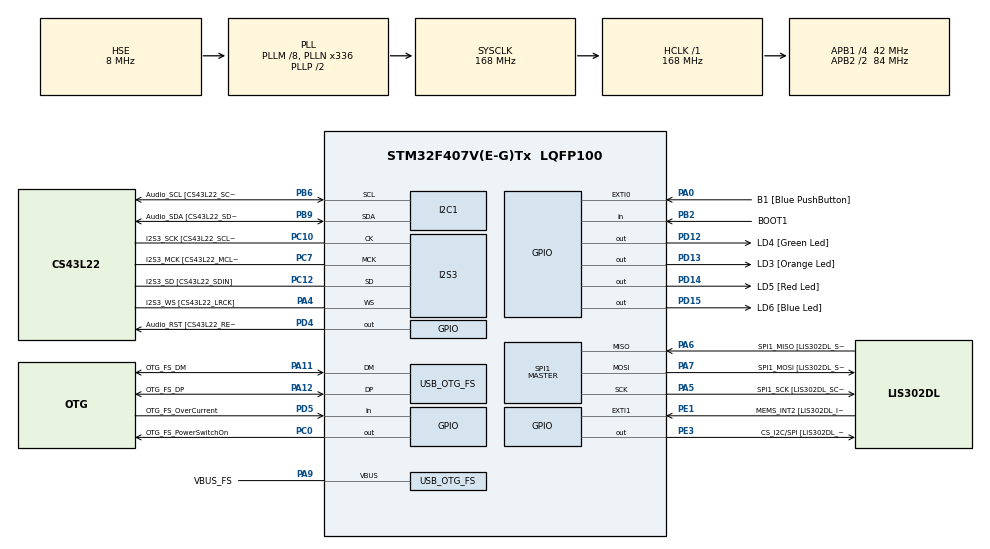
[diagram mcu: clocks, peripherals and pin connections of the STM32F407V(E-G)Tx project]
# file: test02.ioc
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I2S3.AudioFreq-Half_Duplex_Master=I2S_AUDIOFREQ_96K
I2S3.ErrorAudioFreq=-2.34 %
I2S3.ErrorAudioFreq-Half_Duplex_Master=0.8 %
I2S3.FullDuplexMode=I2S_FULLDUPLEXMODE_DISABLE
I2S3.Instance=SPI$Index
I2S3.RealAudioFreq=93.75 KHz
I2S3.RealAudioFreq-Half_Duplex_Master=96.774 KHz
I2S3.VirtualMode=I2S_MODE_MASTER
Mcu.Family=STM32F4
Mcu.Name=STM32F407V(E-G)Tx
Mcu.Package=LQFP100
NVIC.OTG_FS_IRQn=true\:0\:0\:false\:false\:true\:true\:true
NVIC.PriorityGroup=NVIC_PRIORITYGROUP_0
PA0-WKUP.GPIO_Label=B1 [Blue PushButton]
PA0-WKUP.GPIO_ModeDefaultEXTI=GPIO_MODE_EVT_RISING
PA0-WKUP.GPIO_PuPd=GPIO_NOPULL
PA0-WKUP.Signal=GPXTI0
PA10.GPIO_Label=OTG_FS_ID
PA10.GPIO_Mode=GPIO_MODE_AF_PP
PA10.GPIO_PuPd=GPIO_NOPULL
PA10.GPIO_Speed=GPIO_SPEED_FREQ_LOW
PA10.Signal=USB_OTG_FS_ID
PA11.GPIO_Label=OTG_FS_DM
PA11.GPIO_Mode=GPIO_MODE_AF_PP
PA11.GPIO_PuPd=GPIO_NOPULL
PA11.GPIO_Speed=GPIO_SPEED_FREQ_LOW
PA11.Mode=Host_Only
PA11.Signal=USB_OTG_FS_DM
PA12.GPIO_Label=OTG_FS_DP
PA12.GPIO_Mode=GPIO_MODE_AF_PP
PA12.GPIO_PuPd=GPIO_NOPULL
PA12.GPIO_Speed=GPIO_SPEED_FREQ_LOW
PA12.Mode=Host_Only
PA12.Signal=USB_OTG_FS_DP
PA13.GPIO_Label=SWDIO
PA13.Mode=Serial_Wire
PA13.Signal=SYS_JTMS-SWDIO
PA14.GPIO_Label=SWCLK
PA14.Mode=Serial_Wire
PA14.Signal=SYS_JTCK-SWCLK
PA4.GPIO_Label=I2S3_WS [CS43L22_LRCK]
PA4.GPIO_Mode=GPIO_MODE_AF_PP
PA4.GPIO_PuPd=GPIO_NOPULL
PA4.GPIO_Speed=GPIO_SPEED_FREQ_LOW
PA4.Mode=Half_Duplex_Master
PA4.Signal=I2S3_WS
PA5.GPIO_Label=SPI1_SCK [LIS302DL_SCL/SPC]
PA5.GPIO_Mode=GPIO_MODE_AF_PP
PA5.GPIO_PuPd=GPIO_NOPULL
PA5.GPIO_Speed=GPIO_SPEED_FREQ_LOW
PA5.Mode=Full_Duplex_Master
PA5.Signal=SPI1_SCK
PA6.GPIO_Label=SPI1_MISO [LIS302DL_SDO]
PA6.GPIO_Mode=GPIO_MODE_AF_PP
PA6.GPIO_PuPd=GPIO_NOPULL
PA6.GPIO_Speed=GPIO_SPEED_FREQ_LOW
PA6.Mode=Full_Duplex_Master
PA6.Signal=SPI1_MISO
PA7.GPIO_Label=SPI1_MOSI [LIS302DL_SDA/SDI/SDO]
PA7.GPIO_Mode=GPIO_MODE_AF_PP
PA7.GPIO_PuPd=GPIO_NOPULL
PA7.GPIO_Speed=GPIO_SPEED_FREQ_LOW
PA7.Mode=Full_Duplex_Master
PA7.Signal=SPI1_MOSI
PA9.GPIO_Label=VBUS_FS
PA9.GPIO_Mode=GPIO_MODE_INPUT
PA9.GPIO_PuPd=GPIO_NOPULL
PA9.Mode=Activate_VBUS
PA9.Signal=USB_OTG_FS_VBUS
PB10.GPIO_Label=CLK_IN [MP45DT02_CLK]
PB10.GPIO_Mode=GPIO_MODE_AF_PP
PB10.GPIO_PuPd=GPIO_NOPULL
PB10.GPIO_Speed=GPIO_SPEED_FREQ_LOW
PB10.Signal=I2S2_CK
PB2.GPIO_Label=BOOT1
PB2.GPIO_Mode=GPIO_MODE_INPUT
PB2.GPIO_PuPd=GPIO_NOPULL
PB2.Signal=GPIO_Input
PB3.GPIO_Label=SWO
PB3.Signal=SYS_JTDO-SWO
PB6.GPIO_Label=Audio_SCL [CS43L22_SCL]
PB6.GPIO_Mode=GPIO_MODE_AF_OD
PB6.GPIO_PuPd=GPIO_NOPULL
PB6.GPIO_Speed=GPIO_SPEED_FREQ_LOW
PB6.Mode=I2C
PB6.Signal=I2C1_SCL
PB9.GPIO_Label=Audio_SDA [CS43L22_SDA]
PB9.GPIO_Mode=GPIO_MODE_AF_OD
PB9.GPIO_PuPd=GPIO_NOPULL
PB9.GPIO_Speed=GPIO_SPEED_FREQ_LOW
PB9.Mode=I2C
PB9.Signal=I2C1_SDA
PC0.GPIO_Label=OTG_FS_PowerSwitchOn
PC0.GPIO_PuPd=GPIO_NOPULL
PC0.GPIO_Speed=GPIO_SPEED_FREQ_LOW
PC0.PinState=GPIO_PIN_SET
PC0.Signal=GPIO_Output
PC10.GPIO_Label=I2S3_SCK [CS43L22_SCLK]
PC10.GPIO_Mode=GPIO_MODE_AF_PP
PC10.GPIO_PuPd=GPIO_NOPULL
PC10.GPIO_Speed=GPIO_SPEED_FREQ_LOW
PC10.Mode=Half_Duplex_Master
PC10.Signal=I2S3_CK
PC12.GPIO_Label=I2S3_SD [CS43L22_SDIN]
PC12.GPIO_Mode=GPIO_MODE_AF_PP
PC12.GPIO_PuPd=GPIO_NOPULL
PC12.GPIO_Speed=GPIO_SPEED_FREQ_LOW
PC12.Mode=Half_Duplex_Master
PC12.Signal=I2S3_SD
PC14-OSC32_IN.GPIO_Label=PC14-OSC32_IN
PC14-OSC32_IN.Signal=RCC_OSC32_IN
PC15-OSC32_OUT.GPIO_Label=PC15-OSC32_OUT
PC15-OSC32_OUT.Signal=RCC_OSC32_OUT
PC3.GPIO_Label=PDM_OUT [MP45DT02_DOUT]
PC3.GPIO_Mode=GPIO_MODE_AF_PP
PC3.GPIO_PuPd=GPIO_NOPULL
PC3.GPIO_Speed=GPIO_SPEED_FREQ_LOW
PC3.Signal=I2S2_SD
PC7.GPIO_Label=I2S3_MCK [CS43L22_MCLK]
PC7.GPIO_Mode=GPIO_MODE_AF_PP
PC7.GPIO_PuPd=GPIO_NOPULL
PC7.GPIO_Speed=GPIO_SPEED_FREQ_LOW
PC7.Mode=Master_Clock_Activated
PC7.Signal=I2S3_MCK
PD12.GPIO_Label=LD4 [Green Led]
PD12.GPIO_PuPd=GPIO_NOPULL
PD12.GPIO_Speed=GPIO_SPEED_FREQ_LOW
PD12.Signal=GPIO_Output
PD13.GPIO_Label=LD3 [Orange Led]
PD13.GPIO_PuPd=GPIO_NOPULL
PD13.GPIO_Speed=GPIO_SPEED_FREQ_LOW
PD13.Signal=GPIO_Output
PD14.GPIO_Label=LD5 [Red Led]
PD14.GPIO_PuPd=GPIO_NOPULL
PD14.GPIO_Speed=GPIO_SPEED_FREQ_LOW
PD14.Signal=GPIO_Output
PD15.GPIO_Label=LD6 [Blue Led]
PD15.GPIO_PuPd=GPIO_NOPULL
PD15.GPIO_Speed=GPIO_SPEED_FREQ_LOW
PD15.Signal=GPIO_Output
PD4.GPIO_Label=Audio_RST [CS43L22_RESET]
PD4.GPIO_PuPd=GPIO_NOPULL
PD4.GPIO_Speed=GPIO_SPEED_FREQ_LOW
PD4.Signal=GPIO_Output
PD5.GPIO_Label=OTG_FS_OverCurrent
PD5.GPIO_Mode=GPIO_MODE_INPUT
PD5.GPIO_PuPd=GPIO_NOPULL
PD5.Signal=GPIO_Input
PE1.GPIO_Label=MEMS_INT2 [LIS302DL_INT2]
PE1.GPIO_ModeDefaultEXTI=GPIO_MODE_EVT_RISING
PE1.GPIO_PuPd=GPIO_NOPULL
PE1.Signal=GPXTI1
PE3.GPIO_Label=CS_I2C/SPI [LIS302DL_CS_I2C/SPI]
PE3.GPIO_PuPd=GPIO_NOPULL
PE3.GPIO_Speed=GPIO_SPEED_FREQ_LOW
PE3.Signal=GPIO_Output
PH0-OSC_IN.GPIO_Label=PH0-OSC_IN
PH0-OSC_IN.Mode=HSE-External-Oscillator
PH0-OSC_IN.Signal=RCC_OSC_IN
PH1-OSC_OUT.GPIO_Label=PH1-OSC_OUT
PH1-OSC_OUT.Mode=HSE-External-Oscillator
PH1-OSC_OUT.Signal=RCC_OSC_OUT
ProjectManager.HeapSize=0x200
ProjectManager.StackSize=0x400
ProjectManager.TargetToolchain=STM32CubeIDE
RCC.48MHZClocksFreq_Value=48000000
RCC.AHBFreq_Value=168000000
RCC.APB1CLKDivider=RCC_HCLK_DIV4
RCC.APB1Freq_Value=42000000
RCC.APB1TimFreq_Value=84000000
RCC.APB2CLKDivider=RCC_HCLK_DIV2
RCC.APB2Freq_Value=84000000
RCC.APB2TimFreq_Value=168000000
RCC.CortexFreq_Value=168000000
RCC.HCLKFreq_Value=168000000
RCC.HSE_VALUE=8000000
RCC.HSI_VALUE=16000000
RCC.LSE_VALUE=32768
RCC.PLLM=8
RCC.PLLN=336
RCC.PLLQ=7
RCC.SYSCLKFreq_VALUE=168000000
RCC.SYSCLKSource=RCC_SYSCLKSOURCE_PLLCLK
RCC.VCOOutputFreq_Value=336000000
SPI1.BaudRatePrescaler-Full_Duplex_Master=SPI_BAUDRATEPRESCALER_2
SPI1.CalculateBaudRate-Full_Duplex_Master=42.0 MBits/s
SPI1.Direction=SPI_DIRECTION_2LINES
SPI1.Mode=SPI_MODE_MASTER
SPI1.Mode-Full_Duplex_Master=SPI_MODE_MASTER
SPI1.VirtualType=VM_MASTER
USB_HOST.BSP.number=1
USB_HOST.USBH_HandleTypeDef-CDC_FS=hUsbHostFS
USB_HOST.VirtualModeFS=Cdc
USB_HOST0.BSP.STBoard=false
USB_HOST0.BSP.api=Unknown
USB_HOST0.BSP.i2caddr=0
USB_HOST0.BSP.i2creg=0
USB_HOST0.BSP.instance=PC0
USB_HOST0.BSP.ip=GPIO
USB_HOST0.BSP.mode=Output
USB_HOST0.BSP.name=Drive_VBUS_FS
USB_HOST0.BSP.solution=PC0
USB_OTG_FS.VirtualMode=Host_Only
USB_OTG_FS.phy_itface=HCD_PHY_EMBEDDED
VP_USB_HOST_VS_USB_HOST_CDC_FS.Mode=CDC_FS
board=STM32F407G-DISC1

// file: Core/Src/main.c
/* USER CODE BEGIN Header */
/**
  ******************************************************************************
  * @file           : main.c
  * @brief          : Main program body
  ******************************************************************************
  * @attention
  *
  * <h2><center>&copy; Copyright (c) 2020 STMicroelectronics.
  * All rights reserved.</center></h2>
  *
  * This software component is licensed by ST under Ultimate Liberty license
  * SLA0044, the "License"; You may not use this file except in compliance with
  * the License. You may obtain a copy of the License at:
  *                             www.st.com/SLA0044
  *
  ******************************************************************************
  */
/* USER CODE END Header */

#include "main.h"
#include "usb_host.h"

I2C_HandleTypeDef hi2c1;

I2S_HandleTypeDef hi2s3;

SPI_HandleTypeDef hspi1;

void SystemClock_Config(void);
static void MX_GPIO_Init(void);
static void MX_I2C1_Init(void);
static void MX_I2S3_Init(void);
static void MX_SPI1_Init(void);
void MX_USB_HOST_Process(void);

#define wait 500

int main(void)
{

  /* MCU Configuration--------------------------------------------------------*/

  /* Reset of all peripherals, Initializes the Flash interface and the Systick. */
  HAL_Init();

  /* Configure the system clock */
  SystemClock_Config();

  /* Initialize all configured peripherals */
  MX_GPIO_Init();
  MX_I2C1_Init();
  MX_I2S3_Init();
  MX_SPI1_Init();
  MX_USB_HOST_Init();

  /* Infinite loop */
  while (1)
  {
    MX_USB_HOST_Process();

    /* USER CODE BEGIN 3 */
    HAL_GPIO_WritePin(GPIOD, LD3_Pin, GPIO_PIN_SET);
    HAL_Delay(wait);
    HAL_GPIO_WritePin(GPIOD, LD5_Pin, GPIO_PIN_SET);
    HAL_Delay(wait);
    HAL_GPIO_WritePin(GPIOD, LD6_Pin, GPIO_PIN_SET);
    HAL_Delay(wait);
    HAL_GPIO_WritePin(GPIOD, LD4_Pin, GPIO_PIN_SET);
    HAL_Delay(wait);

    HAL_GPIO_WritePin(GPIOD, LD3_Pin , GPIO_PIN_RESET);
    HAL_Delay(wait);
    HAL_GPIO_WritePin(GPIOD, LD5_Pin , GPIO_PIN_RESET);
    HAL_Delay(wait);
    HAL_GPIO_WritePin(GPIOD, LD6_Pin , GPIO_PIN_RESET);
    HAL_Delay(wait);
    HAL_GPIO_WritePin(GPIOD, LD4_Pin , GPIO_PIN_RESET);
    HAL_Delay(wait);
  }
  /* USER CODE END 3 */
}

void SystemClock_Config(void)
{
  RCC_OscInitTypeDef RCC_OscInitStruct = {0};
  RCC_ClkInitTypeDef RCC_ClkInitStruct = {0};
  RCC_PeriphCLKInitTypeDef PeriphClkInitStruct = {0};

  /** Configure the main internal regulator output voltage
  */
  __HAL_RCC_PWR_CLK_ENABLE();
  __HAL_PWR_VOLTAGESCALING_CONFIG(PWR_REGULATOR_VOLTAGE_SCALE1);
  /** Initializes the CPU, AHB and APB busses clocks
  */
  RCC_OscInitStruct.OscillatorType = RCC_OSCILLATORTYPE_HSE;
  RCC_OscInitStruct.HSEState = RCC_HSE_ON;
  RCC_OscInitStruct.PLL.PLLState = RCC_PLL_ON;
  RCC_OscInitStruct.PLL.PLLSource = RCC_PLLSOURCE_HSE;
  RCC_OscInitStruct.PLL.PLLM = 8;
  RCC_OscInitStruct.PLL.PLLN = 336;
  RCC_OscInitStruct.PLL.PLLP = RCC_PLLP_DIV2;
  RCC_OscInitStruct.PLL.PLLQ = 7;
  if (HAL_RCC_OscConfig(&RCC_OscInitStruct) != HAL_OK)
  {
    Error_Handler();
  }
  /** Initializes the CPU, AHB and APB busses clocks
  */
  RCC_ClkInitStruct.ClockType = RCC_CLOCKTYPE_HCLK|RCC_CLOCKTYPE_SYSCLK
                              |RCC_CLOCKTYPE_PCLK1|RCC_CLOCKTYPE_PCLK2;
  RCC_ClkInitStruct.SYSCLKSource = RCC_SYSCLKSOURCE_PLLCLK;
  RCC_ClkInitStruct.AHBCLKDivider = RCC_SYSCLK_DIV1;
  RCC_ClkInitStruct.APB1CLKDivider = RCC_HCLK_DIV4;
  RCC_ClkInitStruct.APB2CLKDivider = RCC_HCLK_DIV2;

  if (HAL_RCC_ClockConfig(&RCC_ClkInitStruct, FLASH_LATENCY_5) != HAL_OK)
  {
    Error_Handler();
  }
  PeriphClkInitStruct.PeriphClockSelection = RCC_PERIPHCLK_I2S;
  PeriphClkInitStruct.PLLI2S.PLLI2SN = 192;
  PeriphClkInitStruct.PLLI2S.PLLI2SR = 2;
  if (HAL_RCCEx_PeriphCLKConfig(&PeriphClkInitStruct) != HAL_OK)
  {
    Error_Handler();
  }
}

static void MX_I2C1_Init(void)
{

  hi2c1.Instance = I2C1;
  hi2c1.Init.ClockSpeed = 100000;
  hi2c1.Init.DutyCycle = I2C_DUTYCYCLE_2;
  hi2c1.Init.OwnAddress1 = 0;
  hi2c1.Init.AddressingMode = I2C_ADDRESSINGMODE_7BIT;
  hi2c1.Init.DualAddressMode = I2C_DUALADDRESS_DISABLE;
  hi2c1.Init.OwnAddress2 = 0;
  hi2c1.Init.GeneralCallMode = I2C_GENERALCALL_DISABLE;
  hi2c1.Init.NoStretchMode = I2C_NOSTRETCH_DISABLE;
  if (HAL_I2C_Init(&hi2c1) != HAL_OK)
  {
    Error_Handler();
  }

}

static void MX_I2S3_Init(void)
{

  hi2s3.Instance = SPI3;
  hi2s3.Init.Mode = I2S_MODE_MASTER_TX;
  hi2s3.Init.Standard = I2S_STANDARD_PHILIPS;
  hi2s3.Init.DataFormat = I2S_DATAFORMAT_16B;
  hi2s3.Init.MCLKOutput = I2S_MCLKOUTPUT_ENABLE;
  hi2s3.Init.AudioFreq = I2S_AUDIOFREQ_96K;
  hi2s3.Init.CPOL = I2S_CPOL_LOW;
  hi2s3.Init.ClockSource = I2S_CLOCK_PLL;
  hi2s3.Init.FullDuplexMode = I2S_FULLDUPLEXMODE_DISABLE;
  if (HAL_I2S_Init(&hi2s3) != HAL_OK)
  {
    Error_Handler();
  }

}

static void MX_SPI1_Init(void)
{

  /* SPI1 parameter configuration*/
  hspi1.Instance = SPI1;
  hspi1.Init.Mode = SPI_MODE_MASTER;
  hspi1.Init.Direction = SPI_DIRECTION_2LINES;
  hspi1.Init.DataSize = SPI_DATASIZE_8BIT;
  hspi1.Init.CLKPolarity = SPI_POLARITY_LOW;
  hspi1.Init.CLKPhase = SPI_PHASE_1EDGE;
  hspi1.Init.NSS = SPI_NSS_SOFT;
  hspi1.Init.BaudRatePrescaler = SPI_BAUDRATEPRESCALER_2;
  hspi1.Init.FirstBit = SPI_FIRSTBIT_MSB;
  hspi1.Init.TIMode = SPI_TIMODE_DISABLE;
  hspi1.Init.CRCCalculation = SPI_CRCCALCULATION_DISABLE;
  hspi1.Init.CRCPolynomial = 10;
  if (HAL_SPI_Init(&hspi1) != HAL_OK)
  {
    Error_Handler();
  }

}

static void MX_GPIO_Init(void)
{
  GPIO_InitTypeDef GPIO_InitStruct = {0};

  /* GPIO Ports Clock Enable */
  __HAL_RCC_GPIOE_CLK_ENABLE();
  __HAL_RCC_GPIOC_CLK_ENABLE();
  __HAL_RCC_GPIOH_CLK_ENABLE();
  __HAL_RCC_GPIOA_CLK_ENABLE();
  __HAL_RCC_GPIOB_CLK_ENABLE();
  __HAL_RCC_GPIOD_CLK_ENABLE();

  /*Configure GPIO pin Output Level */
  HAL_GPIO_WritePin(CS_I2C_SPI_GPIO_Port, CS_I2C_SPI_Pin, GPIO_PIN_RESET);

  /*Configure GPIO pin Output Level */
  HAL_GPIO_WritePin(OTG_FS_PowerSwitchOn_GPIO_Port, OTG_FS_PowerSwitchOn_Pin, GPIO_PIN_SET);

  /*Configure GPIO pin Output Level */
  HAL_GPIO_WritePin(GPIOD, LD4_Pin|LD3_Pin|LD5_Pin|LD6_Pin
                          |Audio_RST_Pin, GPIO_PIN_RESET);

  /*Configure GPIO pin : CS_I2C_SPI_Pin */
  GPIO_InitStruct.Pin = CS_I2C_SPI_Pin;
  GPIO_InitStruct.Mode = GPIO_MODE_OUTPUT_PP;
  GPIO_InitStruct.Pull = GPIO_NOPULL;
  GPIO_InitStruct.Speed = GPIO_SPEED_FREQ_LOW;
  HAL_GPIO_Init(CS_I2C_SPI_GPIO_Port, &GPIO_InitStruct);

  /*Configure GPIO pin : OTG_FS_PowerSwitchOn_Pin */
  GPIO_InitStruct.Pin = OTG_FS_PowerSwitchOn_Pin;
  GPIO_InitStruct.Mode = GPIO_MODE_OUTPUT_PP;
  GPIO_InitStruct.Pull = GPIO_NOPULL;
  GPIO_InitStruct.Speed = GPIO_SPEED_FREQ_LOW;
  HAL_GPIO_Init(OTG_FS_PowerSwitchOn_GPIO_Port, &GPIO_InitStruct);

  /*Configure GPIO pin : PDM_OUT_Pin */
  GPIO_InitStruct.Pin = PDM_OUT_Pin;
  GPIO_InitStruct.Mode = GPIO_MODE_AF_PP;
  GPIO_InitStruct.Pull = GPIO_NOPULL;
  GPIO_InitStruct.Speed = GPIO_SPEED_FREQ_LOW;
  GPIO_InitStruct.Alternate = GPIO_AF5_SPI2;
  HAL_GPIO_Init(PDM_OUT_GPIO_Port, &GPIO_InitStruct);

  /*Configure GPIO pin : B1_Pin */
  GPIO_InitStruct.Pin = B1_Pin;
  GPIO_InitStruct.Mode = GPIO_MODE_EVT_RISING;
  GPIO_InitStruct.Pull = GPIO_NOPULL;
  HAL_GPIO_Init(B1_GPIO_Port, &GPIO_InitStruct);

  /*Configure GPIO pin : BOOT1_Pin */
  GPIO_InitStruct.Pin = BOOT1_Pin;
  GPIO_InitStruct.Mode = GPIO_MODE_INPUT;
  GPIO_InitStruct.Pull = GPIO_NOPULL;
  HAL_GPIO_Init(BOOT1_GPIO_Port, &GPIO_InitStruct);

  /*Configure GPIO pin : CLK_IN_Pin */
  GPIO_InitStruct.Pin = CLK_IN_Pin;
  GPIO_InitStruct.Mode = GPIO_MODE_AF_PP;
  GPIO_InitStruct.Pull = GPIO_NOPULL;
  GPIO_InitStruct.Speed = GPIO_SPEED_FREQ_LOW;
  GPIO_InitStruct.Alternate = GPIO_AF5_SPI2;
  HAL_GPIO_Init(CLK_IN_GPIO_Port, &GPIO_InitStruct);

  /*Configure GPIO pins : LD4_Pin LD3_Pin LD5_Pin LD6_Pin
                           Audio_RST_Pin */
  GPIO_InitStruct.Pin = LD4_Pin|LD3_Pin|LD5_Pin|LD6_Pin
                          |Audio_RST_Pin;
  GPIO_InitStruct.Mode = GPIO_MODE_OUTPUT_PP;
  GPIO_InitStruct.Pull = GPIO_NOPULL;
  GPIO_InitStruct.Speed = GPIO_SPEED_FREQ_LOW;
  HAL_GPIO_Init(GPIOD, &GPIO_InitStruct);

  /*Configure GPIO pin : OTG_FS_OverCurrent_Pin */
  GPIO_InitStruct.Pin = OTG_FS_OverCurrent_Pin;
  GPIO_InitStruct.Mode = GPIO_MODE_INPUT;
  GPIO_InitStruct.Pull = GPIO_NOPULL;
  HAL_GPIO_Init(OTG_FS_OverCurrent_GPIO_Port, &GPIO_InitStruct);

  /*Configure GPIO pin : MEMS_INT2_Pin */
  GPIO_InitStruct.Pin = MEMS_INT2_Pin;
  GPIO_InitStruct.Mode = GPIO_MODE_EVT_RISING;
  GPIO_InitStruct.Pull = GPIO_NOPULL;
  HAL_GPIO_Init(MEMS_INT2_GPIO_Port, &GPIO_InitStruct);

}

void Error_Handler(void)
{
}

/************************ (C) COPYRIGHT STMicroelectronics *****END OF FILE****/
